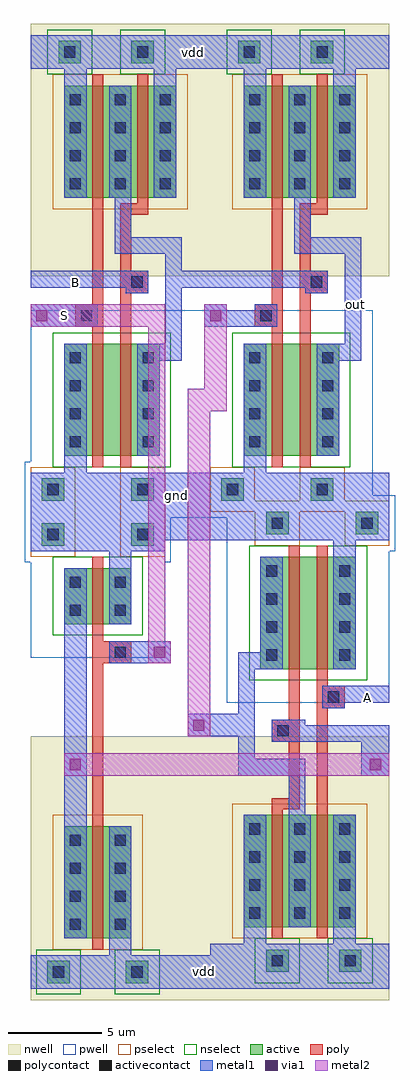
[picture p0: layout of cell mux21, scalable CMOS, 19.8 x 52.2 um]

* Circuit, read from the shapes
.subckt mux21 A B S gnd out vdd
M1 gnd S ______nand_magic_nand_3/B gnd nfet w=3u l=0.6u
M2 n1 S gnd gnd nfet w=6u l=0.6u
M3 ______nand_magic_nand_1/B B n1 gnd nfet w=6u l=0.6u
M4 n2 ______nand_magic_nand_1/A gnd gnd nfet w=6u l=0.6u
M5 n3 ______nand_magic_nand_3/B ______nand_magic_nand_1/A gnd nfet w=6u l=0.6u
M6 out ______nand_magic_nand_1/B n2 gnd nfet w=6u l=0.6u
M7 gnd A n3 gnd nfet w=6u l=0.6u
M8 vdd S ______nand_magic_nand_3/B vdd pfet w=6u l=0.6u
M9 ______nand_magic_nand_1/B S vdd vdd pfet w=6u l=0.6u
M10 vdd B ______nand_magic_nand_1/B vdd pfet w=6u l=0.6u
M11 ______nand_magic_nand_1/A ______nand_magic_nand_3/B vdd vdd pfet w=6u l=0.6u
M12 out ______nand_magic_nand_1/A vdd vdd pfet w=6u l=0.6u
M13 vdd A ______nand_magic_nand_1/A vdd pfet w=6u l=0.6u
M14 vdd ______nand_magic_nand_1/B out vdd pfet w=6u l=0.6u
.ends

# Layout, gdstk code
from math import pi, radians
import gdstk
lib = gdstk.Library(unit=1e-6, precision=1e-09)
def R(c, l, rs):  # rectangles x0, y0, x1, y1
    for r in rs: c.add(gdstk.rectangle(r[:2], r[2:], *l))
def A(c, l, x, y, w, h, nx, ny, dx, dy):  # array of equal rectangles
    R(c, l, [(x+i*dx, y+j*dy, x+i*dx+w, y+j*dy+h) for i in range(nx) for j in range(ny)])
pwell = (41, 0)
nwell = (42, 0)
active = (43, 0)
pselect = (44, 0)
nselect = (45, 0)
poly = (46, 0)
polycontact = (47, 0)
activecontact = (48, 0)
metal1 = (49, 0)
via1 = (50, 0)
metal2 = (51, 0)

c_______nand_magic_nand = lib.new_cell('______nand_magic_nand')
R(c_______nand_magic_nand, pwell, [(-1.5,-1.5,6.3,0), (-1.5,0,7.5,1.5), (-1.2,1.5,7.5,9.6)])
R(c_______nand_magic_nand, nwell, [(-1.2,11.4,8.4,24.9)])
R(c_______nand_magic_nand, active, [(-0.6,-0.6,0.6,0.6), (4.2,-0.6,5.4,0.6), (0.6,1.8,5.7,7.8), (0.6,15.6,6.6,21.6), (0.3,22.8,1.5,24), (4.2,22.8,5.4,24)])
R(c_______nand_magic_nand, pselect, [(-1.2,-1.2,1.2,1.2), (3.6,-1.2,6,1.2), (0,15,7.2,22.2)])
R(c_______nand_magic_nand, nselect, [(0,1.2,6.3,8.4), (-0.3,22.2,2.1,24.6), (3.6,22.2,6,24.6)])
R(c_______nand_magic_nand, poly, [(2.1,1.2,2.7,8.7), (3.6,1.2,4.2,10.5), (1.2,8.7,2.7,9.9), (2.1,9.9,2.7,22.2), (3.6,10.5,5.1,11.7), (3.6,11.7,4.2,14.7), (3.6,14.7,5.1,15.3), (4.5,15.3,5.1,22.2)])
R(c_______nand_magic_nand, polycontact, [(1.5,9,2.1,9.6), (4.2,10.8,4.8,11.4)])
A(c_______nand_magic_nand, activecontact, 0.9, 2.25, 0.6, 0.6, 1, 4, 0, 1.5)
A(c_______nand_magic_nand, activecontact, 4.8, 2.25, 0.6, 0.6, 1, 4, 0, 1.5)
A(c_______nand_magic_nand, activecontact, 0.9, 16.05, 0.6, 0.6, 3, 4, 2.4, 1.5)
R(c_______nand_magic_nand, activecontact, [(-0.3,-0.3,0.3,0.3), (4.5,-0.3,5.1,0.3), (0.6,23.1,1.2,23.7), (4.5,23.1,5.1,23.7)])
R(c_______nand_magic_nand, metal1, [(-1.2,-0.9,8.4,0.9), (0.6,0.9,1.8,7.8), (4.5,1.8,5.7,6.9), (4.5,6.9,6.9,7.8), (6,7.8,6.9,12.6), (-1.2,8.7,2.4,9.6), (1.2,9.6,2.4,9.9), (3.9,10.5,5.1,10.8), (-1.2,10.8,5.1,11.7), (3.3,12.6,6.9,13.5), (3.3,13.5,4.2,15.6), (0.6,15.6,1.8,22.5), (3,15.6,4.2,21.6), (5.4,15.6,6.6,22.5), (-1.2,22.5,8.4,24.3)])
c_______nand_magic_nand.add(gdstk.Label('gnd', (3,0), layer=49, texttype=0))
c_______nand_magic_nand.add(gdstk.Label('vdd', (3,23.4), layer=49, texttype=0))
c_______nand_magic_nand.add(gdstk.Label('A', (-0.9,9), layer=49, texttype=0))
c_______nand_magic_nand.add(gdstk.Label('B', (-0.9,11.1), layer=49, texttype=0))

c_______inv_magic_inverter = lib.new_cell('______inv_magic_inverter')
R(c_______inv_magic_inverter, pwell, [(-1.5,-0.9,6.3,2.1), (-1.2,2.1,6,7.2)])
R(c_______inv_magic_inverter, nwell, [(-1.2,12,6,25.5)])
R(c_______inv_magic_inverter, active, [(-0.6,0,0.6,1.2), (4.2,0,5.4,1.2), (0.6,2.4,4.2,5.4), (0.6,16.2,4.2,22.2), (-0.3,23.4,0.9,24.6), (3.9,23.4,5.1,24.6)])
R(c_______inv_magic_inverter, pselect, [(-1.2,-0.6,1.2,1.8), (3.6,-0.6,6,1.8), (0,15.6,4.8,22.8)])
R(c_______inv_magic_inverter, nselect, [(0,1.8,4.8,6), (-0.9,22.8,1.5,25.2), (3.3,22.8,5.7,25.2)])
R(c_______inv_magic_inverter, poly, [(2.1,1.8,2.7,6.3), (0.6,6.3,2.7,7.5), (2.1,7.5,2.7,22.8)])
R(c_______inv_magic_inverter, polycontact, [(0.9,6.6,1.5,7.2)])
A(c_______inv_magic_inverter, activecontact, 0.9, 16.65, 0.6, 0.6, 1, 4, 0, 1.5)
A(c_______inv_magic_inverter, activecontact, 3.3, 16.65, 0.6, 0.6, 1, 4, 0, 1.5)
R(c_______inv_magic_inverter, activecontact, [(-0.3,0.3,0.3,0.9), (4.5,0.3,5.1,0.9), (0.9,2.85,1.5,3.45), (3.3,2.85,3.9,3.45), (0.9,4.35,1.5,4.95), (3.3,4.35,3.9,4.95), (0,23.7,0.6,24.3), (4.2,23.7,4.8,24.3)])
R(c_______inv_magic_inverter, metal1, [(-1.2,-0.3,6,1.5), (0.6,1.5,1.8,5.4), (3,2.4,4.2,22.2), (-1.2,6.3,1.8,7.2), (0.6,7.2,1.8,7.5), (0.6,16.2,1.8,23.1), (-1.2,23.1,6,24.9)])
c_______inv_magic_inverter.add(gdstk.Label('gnd', (1.8,0.6), layer=49, texttype=0))
c_______inv_magic_inverter.add(gdstk.Label('Y', (3.6,7.8), layer=49, texttype=0))
c_______inv_magic_inverter.add(gdstk.Label('vdd', (2.1,24), layer=49, texttype=0))
c_______inv_magic_inverter.add(gdstk.Label('A', (-0.6,6.6), layer=49, texttype=0))

mux21 = lib.new_cell('mux21')
R(mux21, pwell, [(10.2,-1.5,11.4,-1.2), (7.2,-1.2,9,0.3), (16.8,0,18,0.3), (8.4,0.3,9,1.8), (8.4,1.8,9.3,9.9)])
R(mux21, nwell, [(-0.3,-27,18.9,-12.9)])
R(mux21, metal1, [(6.9,-26.4,18.9,-25.8), (6.9,-25.8,9.3,-24.6), (1.5,-15,2.7,-13.8), (17.4,-15,18.9,-12.3), (8.1,-12.9,11.7,-11.7), (13.8,-12.9,15.6,-12.3), (13.8,-12.3,14.4,-12), (16.5,-11.1,18.9,-10.2), (15.9,-9.3,17.1,-2.4), (5.1,-9,7.2,-7.8), (-0.3,-2.4,18.9,1.2), (16.5,7.2,17.4,13.8), (-0.3,9,3.3,9.9), (9,9,11.7,9.9), (-0.3,9.9,2.1,10.2), (9,9.9,10.2,10.2), (-0.3,11.1,6,12), (6.9,11.1,10.8,12), (-0.3,22.8,18.9,24.6)])
R(mux21, via1, [(1.8,-14.7,2.4,-14.1), (17.85,-14.7,18.45,-14.1), (8.4,-12.6,9,-12), (6.3,-8.7,6.9,-8.1), (0,9.3,0.6,9.9), (9.3,9.3,9.9,9.9)])
R(mux21, metal2, [(1.5,-15,18.9,-13.8), (8.1,-12.9,9.3,4.5), (6,-9,7.2,-7.8), (6,-7.8,6.9,9), (8.1,4.5,10.2,5.7), (9,5.7,10.2,10.2), (-0.3,9,6.9,10.2)])
mux21.add(gdstk.Reference(c_______nand_magic_nand, (0.9,0.3)))
mux21.add(gdstk.Reference(c_______nand_magic_nand, (10.5,0.3)))
mux21.add(gdstk.Reference(c_______inv_magic_inverter, (5.7,-1.5), rotation=pi))
mux21.add(gdstk.Reference(c_______nand_magic_nand, (17.7,-1.5), rotation=pi))
mux21.add(gdstk.Label('vdd', (9,-25.5), layer=49, texttype=0))
mux21.add(gdstk.Label('gnd', (7.5,0), layer=49, texttype=0))
mux21.add(gdstk.Label('B', (2.1,11.4), layer=49, texttype=0))
mux21.add(gdstk.Label('S', (1.5,9.6), layer=51, texttype=0))
mux21.add(gdstk.Label('out', (17.1,10.2), layer=49, texttype=0))
mux21.add(gdstk.Label('A', (17.7,-10.8), layer=49, texttype=0))
mux21.add(gdstk.Label('vdd', (8.4,23.7), layer=49, texttype=0))

lib.write_gds('mux21.gds')
